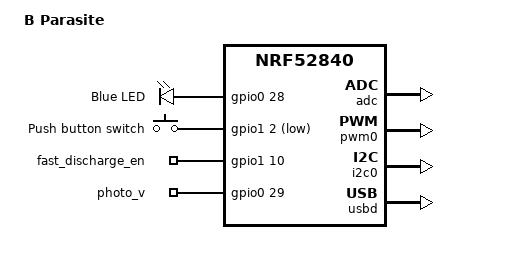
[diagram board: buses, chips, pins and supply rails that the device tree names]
/*
 * Copyright (c) 2020 Tobias Svehagen
 *
 * SPDX-License-Identifier: Apache-2.0
 */

/dts-v1/;
#include <nordic/nrf52840_qiaa.dtsi>
#include <zephyr/dt-bindings/adc/adc.h>
#include "b_parasite-pinctrl.dtsi"

/ {
  model = "B Parasite";
  compatible = "adafruit,feather-nrf52840";

  chosen {
    zephyr,console = &uart0;
    zephyr,shell-uart = &uart0;
    zephyr,uart-mcumgr = &uart0;
    zephyr,bt-mon-uart = &uart0;
    zephyr,bt-c2h-uart = &uart0;
    zephyr,sram = &sram0;
    zephyr,flash = &flash0;
    zephyr,code-partition = &slot0_partition;
  };

  leds {
    compatible = "gpio-leds";
    led0: led_0 {
        gpios = <&gpio0 28 GPIO_ACTIVE_HIGH>;
        label = "Blue LED";
      };
  };

  buttons {
    compatible = "gpio-keys";
    button0: button_0 {
      gpios = <&gpio1 2 (GPIO_PULL_UP | GPIO_ACTIVE_LOW)>;
      label = "Push button switch";
    };
  };

  gpios {
    compatible = "gpio-keys";
    fast_discharge_en: gpio1_10 {
       gpios = <&gpio1 10 GPIO_ACTIVE_HIGH>;
       label = "fast_discharge_en";
     };
     photo_v: gpio0_29 {
       gpios = <&gpio0 29 GPIO_ACTIVE_HIGH>;
       label = "photo_v";
     };
  };

  /* These aliases are provided for compatibility with samples */
  aliases {
    led0 = &led0;
    fast-discharge-en = &fast_discharge_en;
    photo-v = &photo_v;
    button0 = &button0;
  };
};

&adc {
  #address-cells = <1>;
	#size-cells = <0>;
  status = "okay";
};

&pwm0 {
	status = "okay";
	pinctrl-0 = <&pwm0_default>;
	pinctrl-1 = <&pwm0_sleep>;
	pinctrl-names = "default", "sleep";
};

&gpiote {
  status = "okay";
};

&gpio0 {
  status = "okay";
};

&gpio1 {
  status = "okay";
};

&uart0 {
  compatible = "nordic,nrf-uart";
	current-speed = <115200>;
  status = "disabled";
  pinctrl-0 = <&uart0_default>;
	pinctrl-1 = <&uart0_sleep>;
	pinctrl-names = "default", "sleep";
};


&i2c0 {
  compatible = "nordic,nrf-twi";
  status = "okay";
  pinctrl-0 = <&i2c0_default>;
	pinctrl-1 = <&i2c0_sleep>;
	pinctrl-names = "default", "sleep";
};

&flash0 {

  partitions {
    compatible = "fixed-partitions";
#address-cells = <1>;
#size-cells = <1>;

boot_partition: partition@0 {
                  label = "mcuboot";
                  reg = <0x000000000 0x0000C000>;
                };
slot0_partition: partition@c000 {
                   label = "image-0";
                   reg = <0x0000C000 0x00067000>;
                 };
slot1_partition: partition@73000 {
                   label = "image-1";
                   reg = <0x00073000 0x00067000>;
                 };
scratch_partition: partition@da000 {
                     label = "image-scratch";
                     reg = <0x000da000 0x0001e000>;
                   };

                   /*
                    * The flash starting at 0x000f8000 and ending at
                    * 0x000fffff is reserved for use by the application.
                    */

                   /* Storage partition will be used by FCB/NFFS/NVS if enabled. */
storage_partition: partition@f8000 {
                     label = "storage";
                     reg = <0x000f8000 0x00008000>;
                   };
  };
};

zephyr_udc0: &usbd {
               compatible = "nordic,nrf-usbd";
               status = "okay";
             };

